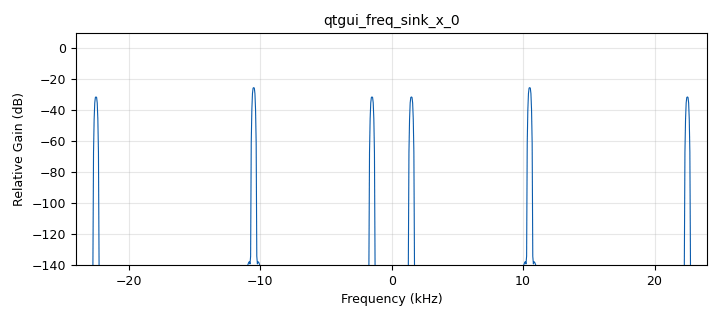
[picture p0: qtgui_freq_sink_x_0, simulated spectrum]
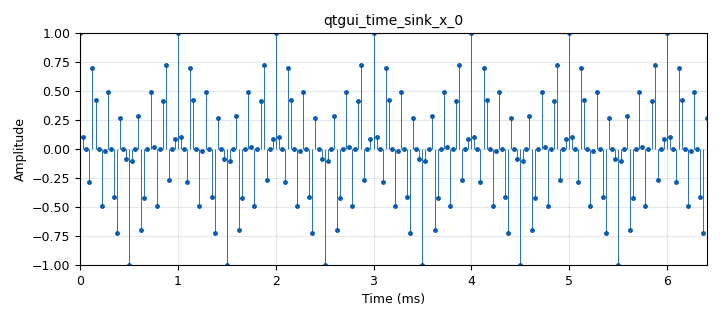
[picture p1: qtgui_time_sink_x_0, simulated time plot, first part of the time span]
options:
  parameters:
    author: labcom
    generate_options: qt_gui
    id: punto3
    output_language: python
    title: punto3
  states: {}

blocks:
- name: samp_rate
  id: variable
  parameters:
    value: '60000'
  states: {state: disabled}
- name: samp_rate
  id: variable_qtgui_range
  parameters:
    label: Frecuencia de Muestreo
    start: '1000'
    step: '1000'
    stop: '1000000'
    value: '32000'
  states: {}
- name: analog_sig_source_x_0
  id: analog_sig_source_x
  parameters:
    amp: '1'
    freq: '7000'
    offset: '0'
    phase: '0'
    samp_rate: samp_rate
    type: float
    waveform: analog.GR_COS_WAVE
  states: {}
- name: analog_sig_source_x_0_0
  id: analog_sig_source_x
  parameters:
    amp: '1'
    freq: '12000'
    offset: '0'
    phase: '0'
    samp_rate: samp_rate
    type: float
    waveform: analog.GR_COS_WAVE
  states: {}
- name: analog_sig_source_x_0_1
  id: analog_sig_source_x
  parameters:
    amp: '1'
    freq: '12000'
    offset: '0'
    phase: '0'
    samp_rate: samp_rate
    type: float
    waveform: analog.GR_COS_WAVE
  states: {}
- name: blocks_multiply_xx_0
  id: blocks_multiply_xx
  parameters:
    num_inputs: '3'
    type: float
  states: {}
- name: blocks_throttle_0
  id: blocks_throttle
  parameters:
    samples_per_second: samp_rate
    type: float
  states: {}
- name: qtgui_freq_sink_x_0
  id: qtgui_freq_sink_x
  parameters:
    average: '0.05'
    bw: '48000'
    fc: '0'
    fftsize: '1024'
    type: float
    wintype: window.WIN_FLATTOP
  states: {}
- name: qtgui_time_sink_x_0
  id: qtgui_time_sink_x
  parameters:
    size: '1024'
    srate: samp_rate
    stemplot: 'True'
    type: float
  states: {}

connections:
- [analog_sig_source_x_0, '0', blocks_multiply_xx_0, '0']
- [analog_sig_source_x_0_0, '0', blocks_multiply_xx_0, '1']
- [analog_sig_source_x_0_1, '0', blocks_multiply_xx_0, '2']
- [blocks_multiply_xx_0, '0', blocks_throttle_0, '0']
- [blocks_throttle_0, '0', qtgui_freq_sink_x_0, '0']
- [blocks_throttle_0, '0', qtgui_time_sink_x_0, '0']

metadata:
  file_format: 1
